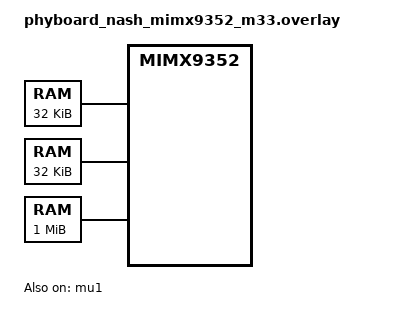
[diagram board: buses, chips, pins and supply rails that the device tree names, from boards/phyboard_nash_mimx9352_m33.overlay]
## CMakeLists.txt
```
# Copyright (c) PHYTEC Messtechnik GmbH
# SPDX-License-Identifier: Apache-2.0

cmake_minimum_required(VERSION 3.28.0)

find_package(Zephyr REQUIRED HINTS $ENV{ZEPHYR_BASE})
project(ipc_rproc_rpmsg)

target_sources(app PRIVATE src/main.c)
```

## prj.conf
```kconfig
CONFIG_IPC_SERVICE=y
CONFIG_REMOTEPROC=y
CONFIG_HEAP_MEM_POOL_SIZE=4096
CONFIG_LOG=y
# Holds the log burst of the 100 client sample messages.
CONFIG_LOG_BUFFER_SIZE=8192

CONFIG_SHELL=y
CONFIG_SHELL_BACKEND_RPMSG=y
# Wait for a free RPMsg buffer instead of dropping shell output.
CONFIG_SHELL_BACKEND_RPMSG_FORCE_TX_BLOCKING_MODE=y
```

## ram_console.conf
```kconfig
# Route the console and logging into a RAM buffer that the resource table
# publishes as a trace entry. Linux shows it in
# /sys/kernel/debug/remoteproc/remoteproc0/trace0.
CONFIG_UART_CONSOLE=n
CONFIG_RAM_CONSOLE=y
CONFIG_RAM_CONSOLE_BUFFER_SIZE=8192
CONFIG_LOG_MODE_MINIMAL=y
```

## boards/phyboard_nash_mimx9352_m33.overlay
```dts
/*
 * Copyright (c) 2026 PHYTEC Messtechnik GmbH
 * SPDX-License-Identifier: Apache-2.0
 *
 * Shared memory and mailbox used by the Linux imx_rproc driver with the
 * PHYTEC imx93-phycore-rpmsg overlays. The carveout names must match the
 * Linux reserved-memory node names, Linux pairs them by name.
 */

/ {
	chosen {
		openamp,resource-table = &rsc_tbl;
	};

	ipc0: ipc {
		compatible = "zephyr,ipc-rproc-rpmsg";
		rpmsg-device = <&vdev0>;
		rpmsg-shell;
	};

	vdev0vring0: memory@a4000000 {
		compatible = "zephyr,memory-region";
		zephyr,memory-region = "vdev0vring0";
		reg = <0xa4000000 0x8000>;
	};

	vdev0vring1: memory@a4008000 {
		compatible = "zephyr,memory-region";
		zephyr,memory-region = "vdev0vring1";
		reg = <0xa4008000 0x8000>;
	};

	vdevbuffer: memory@a4020000 {
		compatible = "zephyr,memory-region";
		zephyr,memory-region = "vdevbuffer";
		reg = <0xa4020000 0x100000>;
	};

	remoteproc {
		rsc_tbl: resource_table {
			compatible = "openamp,resource-table";
			carveouts = <&vdev0vring0 &vdev0vring1 &vdevbuffer>;
			vdevs = <&vdev0>;
		};

		vrings {
			#address-cells = <1>;
			#size-cells = <0>;

			vdev0_tx: vring@0 {
				compatible = "openamp,vring";
				reg = <0>;
				#vring-cells = <0>;
				notify-id = <0>;
				memory-region = <&vdev0vring0>;
				num-buffers = <8>;
				mboxes = <&mu1 1>;
			};

			vdev0_rx: vring@1 {
				compatible = "openamp,vring";
				reg = <1>;
				#vring-cells = <0>;
				notify-id = <1>;
				memory-region = <&vdev0vring1>;
				num-buffers = <8>;
				mboxes = <&mu1 1>;
			};
		};

		vdevs {
			#address-cells = <1>;
			#size-cells = <0>;

			vdev0: vdev@0 {
				compatible = "openamp,rpmsg-virtio-device";
				reg = <0>;
				vrings = <&vdev0_tx &vdev0_rx>;
				vring-names = "tx", "rx";
				memory-region = <&vdevbuffer>;
			};
		};
	};
};

&mu1 {
	status = "okay";
};
```

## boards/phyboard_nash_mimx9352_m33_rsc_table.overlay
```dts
/*
 * Copyright (c) PHYTEC Messtechnik GmbH
 * SPDX-License-Identifier: Apache-2.0
 *
 * Resource table at the fixed address the PHYTEC imx93-phycore-rpmsg
 * "rsc-table" overlay reserves (0x2021e000 seen from the Cortex-A55). Use it
 * when the core is started by the bootloader and Linux attaches to it.
 */

&dtcm {
	reg = <0x20000000 DT_SIZE_K(120)>;
};

/ {
	rsc_table_region: memory@2001e000 {
		compatible = "zephyr,memory-region";
		zephyr,memory-region = "RSC_TABLE";
		reg = <0x2001e000 DT_SIZE_K(4)>;
	};
};

&rsc_tbl {
	memory-region = <&rsc_table_region>;
};
```

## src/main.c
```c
/*
 * Copyright (c) 2026 PHYTEC Messtechnik GmbH
 * SPDX-License-Identifier: Apache-2.0
 */

#include <string.h>

#include <zephyr/kernel.h>
#include <zephyr/device.h>
#include <zephyr/ipc/ipc_service.h>
#include <zephyr/logging/log.h>
#include <zephyr/sys/util.h>

LOG_MODULE_REGISTER(rproc_rpmsg, LOG_LEVEL_INF);

/* The Linux rpmsg_client_sample driver sends this many messages. */
#define CLIENT_SAMPLE_MSG_COUNT 100U

#define TTY_PREFIX     "TTY: "
#define TTY_PREFIX_LEN (sizeof(TTY_PREFIX) - 1U)
/* RPMsg buffer payload size used by Linux virtio_rpmsg_bus. */
#define TTY_MSG_SIZE   496U

static const struct device *const ipc_instance = DEVICE_DT_GET(DT_NODELABEL(ipc0));

static struct ipc_ept client_ept;
static struct ipc_ept tty_ept;

static void client_done_handler(struct k_work *work)
{
	int ret;

	ARG_UNUSED(work);

	ret = ipc_service_deregister_endpoint(&client_ept);
	if (ret < 0) {
		LOG_ERR("[Linux sample client] deregister failed: %d", ret);
	}

	LOG_INF("Linux sample client responder ended");
}

static K_WORK_DEFINE(client_done_work, client_done_handler);

static void client_bound(void *priv)
{
	ARG_UNUSED(priv);

	LOG_INF("Linux sample client responder started");
}

static void client_received(const void *data, size_t len, void *priv)
{
	static uint32_t msg_cnt;
	int ret;

	ARG_UNUSED(priv);

	msg_cnt++;
	LOG_INF("[Linux sample client] incoming msg %u: %.*s", msg_cnt, (int)len,
		(const char *)data);

	ret = ipc_service_send(&client_ept, data, len);
	if (ret < 0) {
		LOG_ERR("[Linux sample client] send failed: %d", ret);
	}

	if (msg_cnt == CLIENT_SAMPLE_MSG_COUNT) {
		/* Deregistration announces the endpoint removal to Linux. */
		k_work_submit(&client_done_work);
	}
}

static void tty_bound(void *priv)
{
	ARG_UNUSED(priv);

	LOG_INF("Linux TTY responder started");
}

static void tty_received(const void *data, size_t len, void *priv)
{
	/* Callbacks of one instance run on a single thread. */
	static uint8_t tx_buf[TTY_MSG_SIZE];
	size_t payload_len = MIN(len, sizeof(tx_buf) - TTY_PREFIX_LEN);
	int ret;

	ARG_UNUSED(priv);

	LOG_INF("[Linux TTY] incoming msg: %.*s", (int)len, (const char *)data);

	memcpy(tx_buf, TTY_PREFIX, TTY_PREFIX_LEN);
	memcpy(&tx_buf[TTY_PREFIX_LEN], data, payload_len);

	ret = ipc_service_send(&tty_ept, tx_buf, TTY_PREFIX_LEN + payload_len);
	if (ret < 0) {
		LOG_ERR("[Linux TTY] send failed: %d", ret);
	}
}

static const struct ipc_ept_cfg client_ept_cfg = {
	.name = "rpmsg-client-sample",
	.cb = {
		.bound = client_bound,
		.received = client_received,
	},
};

static const struct ipc_ept_cfg tty_ept_cfg = {
	.name = "rpmsg-tty",
	.cb = {
		.bound = tty_bound,
		.received = tty_received,
	},
};

int main(void)
{
	int ret;

	ret = ipc_service_open_instance(ipc_instance);
	if (ret < 0 && ret != -EALREADY) {
		LOG_ERR("ipc_service_open_instance() failed: %d", ret);
		return ret;
	}

	ret = ipc_service_register_endpoint(ipc_instance, &client_ept, &client_ept_cfg);
	if (ret < 0) {
		LOG_ERR("registering %s failed: %d", client_ept_cfg.name, ret);
		return ret;
	}

	ret = ipc_service_register_endpoint(ipc_instance, &tty_ept, &tty_ept_cfg);
	if (ret < 0) {
		LOG_ERR("registering %s failed: %d", tty_ept_cfg.name, ret);
		return ret;
	}

	LOG_INF("Linux responder ready");

	return 0;
}
```
